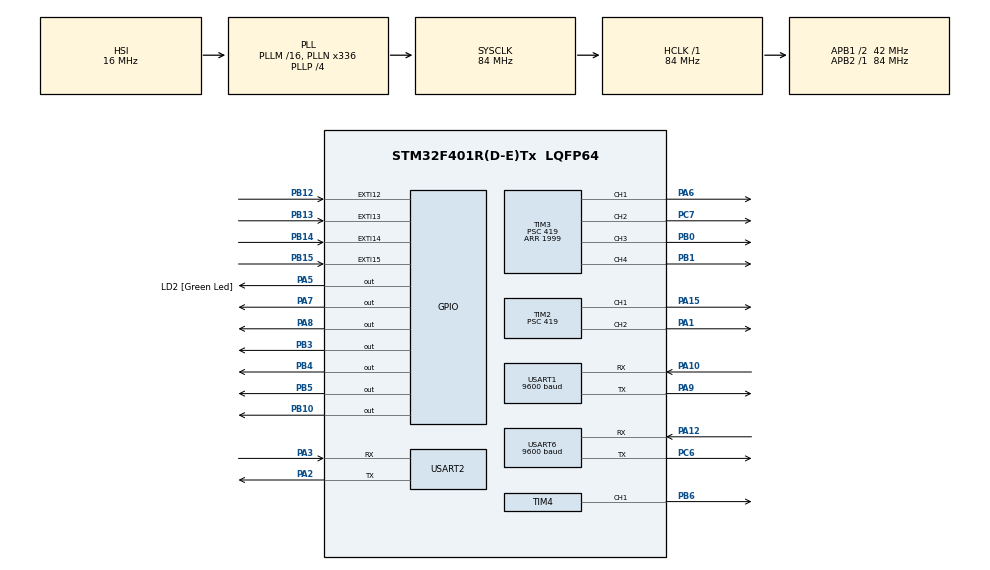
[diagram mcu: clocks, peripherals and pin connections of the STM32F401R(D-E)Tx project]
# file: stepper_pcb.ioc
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Mcu.Family=STM32F4
Mcu.Name=STM32F401R(D-E)Tx
Mcu.Package=LQFP64
NVIC.EXTI15_10_IRQn=true\:0\:0\:true\:false\:true\:true\:true\:true
NVIC.PriorityGroup=NVIC_PRIORITYGROUP_2
NVIC.TIM1_BRK_TIM9_IRQn=true\:0\:0\:true\:false\:true\:true\:true\:true
NVIC.TIM1_TRG_COM_TIM11_IRQn=true\:0\:0\:true\:false\:true\:true\:true\:true
NVIC.TIM1_UP_TIM10_IRQn=true\:0\:0\:true\:false\:true\:true\:true\:true
NVIC.TIM5_IRQn=true\:0\:0\:true\:false\:true\:true\:true\:true
NVIC.USART2_IRQn=true\:0\:0\:true\:false\:true\:true\:true\:true
NVIC.USART6_IRQn=true\:0\:0\:true\:false\:true\:true\:true\:true
PA1.Signal=S_TIM2_CH2
PA10.Mode=Asynchronous
PA10.Signal=USART1_RX
PA12.Mode=Asynchronous
PA12.Signal=USART6_RX
PA13.GPIO_Label=TMS
PA13.Signal=SYS_JTMS-SWDIO
PA14.GPIO_Label=TCK
PA14.Signal=SYS_JTCK-SWCLK
PA15.Signal=S_TIM2_CH1_ETR
PA2.Mode=Asynchronous
PA2.Signal=USART2_TX
PA3.Mode=Asynchronous
PA3.Signal=USART2_RX
PA5.GPIO_Label=LD2 [Green Led]
PA5.GPIO_PuPd=GPIO_NOPULL
PA5.GPIO_Speed=GPIO_SPEED_FREQ_LOW
PA5.Signal=GPIO_Output
PA6.Signal=S_TIM3_CH1
PA7.Signal=GPIO_Output
PA8.Signal=GPIO_Output
PA9.Mode=Asynchronous
PA9.Signal=USART1_TX
PB0.Signal=S_TIM3_CH3
PB1.Signal=S_TIM3_CH4
PB10.Signal=GPIO_Output
PB12.Signal=GPXTI12
PB13.Signal=GPXTI13
PB14.Signal=GPXTI14
PB15.Signal=GPXTI15
PB3.Signal=GPIO_Output
PB4.Signal=GPIO_Output
PB5.Signal=GPIO_Output
PB6.Signal=S_TIM4_CH1
PC14-OSC32_IN.Signal=RCC_OSC32_IN
PC15-OSC32_OUT.Signal=RCC_OSC32_OUT
PC6.Mode=Asynchronous
PC6.Signal=USART6_TX
PC7.Signal=S_TIM3_CH2
PH0\ -\ OSC_IN.Signal=RCC_OSC_IN
PH1\ -\ OSC_OUT.Signal=RCC_OSC_OUT
ProjectManager.HeapSize=0x200
ProjectManager.StackSize=0x400
ProjectManager.TargetToolchain=STM32CubeIDE
RCC.AHBFreq_Value=84000000
RCC.APB1CLKDivider=RCC_HCLK_DIV2
RCC.APB1Freq_Value=42000000
RCC.APB1TimFreq_Value=84000000
RCC.APB2Freq_Value=84000000
RCC.APB2TimFreq_Value=84000000
RCC.CortexFreq_Value=84000000
RCC.HCLKFreq_Value=84000000
RCC.HSE_VALUE=8000000
RCC.HSI_VALUE=16000000
RCC.LSE_VALUE=32768
RCC.PLLN=336
RCC.PLLP=RCC_PLLP_DIV4
RCC.PLLQ=7
RCC.SYSCLKFreq_VALUE=84000000
RCC.SYSCLKSource=RCC_SYSCLKSOURCE_PLLCLK
RCC.VCOOutputFreq_Value=336000000
SH.S_TIM2_CH1_ETR.0=TIM2_CH1,PWM Generation1 CH1
SH.S_TIM2_CH2.0=TIM2_CH2,PWM Generation2 CH2
SH.S_TIM3_CH1.0=TIM3_CH1,PWM Generation1 CH1
SH.S_TIM3_CH2.0=TIM3_CH2,PWM Generation2 CH2
SH.S_TIM3_CH3.0=TIM3_CH3,PWM Generation3 CH3
SH.S_TIM3_CH4.0=TIM3_CH4,PWM Generation4 CH4
SH.S_TIM4_CH1.0=TIM4_CH1,PWM Generation1 CH1
TIM10.Period=9000
TIM10.Prescaler=4500
TIM11.Period=3999
TIM11.Prescaler=39
TIM2.Channel-PWM\ Generation1\ CH1=TIM_CHANNEL_1
TIM2.Channel-PWM\ Generation2\ CH2=TIM_CHANNEL_2
TIM2.Period=1999
TIM2.Prescaler=419
TIM3.Channel-PWM\ Generation1\ CH1=TIM_CHANNEL_1
TIM3.Channel-PWM\ Generation2\ CH2=TIM_CHANNEL_2
TIM3.Channel-PWM\ Generation3\ CH3=TIM_CHANNEL_3
TIM3.Channel-PWM\ Generation4\ CH4=TIM_CHANNEL_4
TIM3.Period=1999
TIM3.Prescaler=419
TIM4.Channel-PWM\ Generation1\ CH1=TIM_CHANNEL_1
TIM4.Period=3999
TIM4.Prescaler=839
TIM4.Pulse-PWM\ Generation1\ CH1=2
TIM5.Period=3999
TIM5.Prescaler=83
TIM9.Period=2499
TIM9.Prescaler=8399
USART1.BaudRate=9600
USART1.VirtualMode=VM_ASYNC
USART2.VirtualMode=VM_ASYNC
USART6.BaudRate=9600
USART6.VirtualMode=VM_ASYNC
VP_TIM10_VS_ClockSourceINT.Mode=Enable_Timer
VP_TIM11_VS_ClockSourceINT.Mode=Enable_Timer
VP_TIM2_VS_ClockSourceINT.Mode=Internal
VP_TIM3_VS_ClockSourceINT.Mode=Internal
VP_TIM4_VS_ClockSourceINT.Mode=Internal
VP_TIM5_VS_ClockSourceINT.Mode=Internal
VP_TIM9_VS_ClockSourceINT.Mode=Internal
board=NUCLEO-F401RE

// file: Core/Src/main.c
/* USER CODE BEGIN Header */
/**
  ******************************************************************************
  * @file           : main.c
  * @brief          : Main program body
  ******************************************************************************
  * @attention
  *
  * Copyright (c) 2024 STMicroelectronics.
  * All rights reserved.
  *
  * This software is licensed under terms that can be found in the LICENSE file
  * in the root directory of this software component.
  * If no LICENSE file comes with this software, it is provided AS-IS.
  *
  ******************************************************************************
  */
/* USER CODE END Header */
#include "main.h"

/* USER CODE BEGIN Includes */
#include"stdio.h"
#include"string.h"

/* USER CODE END Includes */

/* USER CODE BEGIN PD */

typedef enum {
	IDLE,
	LOST,
	NOT_DETECTED,
	TO_LEFT,
	TO_RIGHT,
	READY
} Track_State;

Track_State state;
int auto_enable = 0;

/* USER CODE END PD */

TIM_HandleTypeDef htim2;
TIM_HandleTypeDef htim3;
TIM_HandleTypeDef htim4;
TIM_HandleTypeDef htim5;
TIM_HandleTypeDef htim9;
TIM_HandleTypeDef htim10;
TIM_HandleTypeDef htim11;

UART_HandleTypeDef huart1;
UART_HandleTypeDef huart2;
UART_HandleTypeDef huart6;

void SystemClock_Config(void);
static void MX_GPIO_Init(void);
static void MX_USART2_UART_Init(void);
static void MX_USART6_UART_Init(void);
static void MX_TIM11_Init(void);
static void MX_TIM2_Init(void);
static void MX_TIM3_Init(void);
static void MX_TIM10_Init(void);
static void MX_TIM4_Init(void);
static void MX_TIM5_Init(void);
static void MX_TIM9_Init(void);
static void MX_USART1_UART_Init(void);

/* USER CODE BEGIN 0 */
#define ENABLE_GPIO GPIOA
#define ENABLE_PIN GPIO_PIN_8

#define DIR1_GPIO GPIOB
#define DIR1_PIN GPIO_PIN_10
#define DIR2_GPIO GPIOB
#define DIR2_PIN GPIO_PIN_4
#define DIR3_GPIO GPIOB
#define DIR3_PIN GPIO_PIN_5
#define DIR4_GPIO GPIOB
#define DIR4_PIN GPIO_PIN_3

#define STEP_GPIO GPIOA
#define STEP_PIN GPIO_PIN_7

#define HB1_GPIO  GPIOC
#define HB2_GPIO  GPIOC
#define HB3_GPIO  GPIOC
#define HB4_GPIO  GPIOC
#define HB1_PIN  GPIO_PIN_0
#define HB2_PIN GPIO_PIN_1
#define HB3_PIN GPIO_PIN_2
#define HB4_PIN GPIO_PIN_3
char answer = 0;
char answers[2] = {0};
int answerOffset = 0;

int stepState = 0;
int PINCH_FORWARD_CCR = 205;
int PINCH_BACKWARD_CCR = 320;
int PAN_STOP = 302;
int PAN_SLOW_UP = 310;
int PAN_SLOW_DOWN = 295;
int PAN_UP = 302 + 50;
int PAN_DOWN = 302 - 50;

int FAST_WHEEL_CCR = 1999;
int SLOW_WHEEL_CCR = 199;

#define FIX_TIMER_TRIGGER(handle_ptr) (__HAL_TIM_CLEAR_FLAG(handle_ptr, TIM_SR_UIF))

void HAL_GPIO_EXTI_Callback(uint16_t pin){
	if(pin == GPIO_PIN_12 || pin == GPIO_PIN_13 || pin == GPIO_PIN_14 || pin == GPIO_PIN_15){
		HAL_TIM_Base_Start_IT(&htim5);
	}
}

void step(int num)
{
	HAL_GPIO_WritePin(STEP_GPIO, STEP_PIN, 1);
	HAL_Delay(5);
	HAL_GPIO_WritePin(STEP_GPIO, STEP_PIN, 0);
	HAL_Delay(5);
}

void set_forward_dir()
{
	HAL_GPIO_WritePin(DIR1_GPIO, DIR1_PIN, 1);
	HAL_GPIO_WritePin(DIR2_GPIO, DIR2_PIN, 1);
	HAL_GPIO_WritePin(DIR3_GPIO, DIR3_PIN, 1-1);
	HAL_GPIO_WritePin(DIR4_GPIO, DIR4_PIN, 1-1);
}
void set_backward_dir()
{
	HAL_GPIO_WritePin(DIR1_GPIO, DIR1_PIN, 0);
	HAL_GPIO_WritePin(DIR2_GPIO, DIR2_PIN, 0);
	HAL_GPIO_WritePin(DIR3_GPIO, DIR3_PIN, 1-0);
	HAL_GPIO_WritePin(DIR4_GPIO, DIR4_PIN, 1-0);
}
void set_left_dir()
{
	HAL_GPIO_WritePin(DIR1_GPIO, DIR1_PIN, 0);
	HAL_GPIO_WritePin(DIR2_GPIO, DIR2_PIN, 1);
	HAL_GPIO_WritePin(DIR3_GPIO, DIR3_PIN, 1-1);
	HAL_GPIO_WritePin(DIR4_GPIO, DIR4_PIN, 1-0);
}
void set_right_dir()
{
	HAL_GPIO_WritePin(DIR1_GPIO, DIR1_PIN, 1);
	HAL_GPIO_WritePin(DIR2_GPIO, DIR2_PIN, 0);
	HAL_GPIO_WritePin(DIR3_GPIO, DIR3_PIN, 1-0);
	HAL_GPIO_WritePin(DIR4_GPIO, DIR4_PIN, 1-1);
}
void set_ccw_dir()
{
	HAL_GPIO_WritePin(DIR1_GPIO, DIR1_PIN, 0);
	HAL_GPIO_WritePin(DIR2_GPIO, DIR2_PIN, 0);
	HAL_GPIO_WritePin(DIR3_GPIO, DIR3_PIN, 1-1);
	HAL_GPIO_WritePin(DIR4_GPIO, DIR4_PIN, 1-1);
}
void set_cw_dir()
{
	HAL_GPIO_WritePin(DIR1_GPIO, DIR1_PIN, 1);
	HAL_GPIO_WritePin(DIR2_GPIO, DIR2_PIN, 1);
	HAL_GPIO_WritePin(DIR3_GPIO, DIR3_PIN, 1-0);
	HAL_GPIO_WritePin(DIR4_GPIO, DIR4_PIN, 1-0);
}

static int steps_left = 0;
static int disabled = 0;
void enable()
{
	HAL_GPIO_WritePin(ENABLE_GPIO, ENABLE_PIN, 0);
}
void disable()
{
	HAL_GPIO_WritePin(ENABLE_GPIO, ENABLE_PIN, 1);
}

int pan_done = 1;

int controller_move = 0;
int controller_dir = 0;
int ultra_move = 0;
int ultra_steps = 0;
int ultra_dir = 0;
int auto_move = 0;
int auto_steps = 0;
int auto_dir = 0;

void set_dir(int dir)
{
	switch(dir)
	{
	case 0:
		set_forward_dir();
		break;
	case 1:
		set_backward_dir();
		break;
	case 2:
		set_left_dir();
		break;
	case 3:
		set_right_dir();
		break;
	case 4:
		set_ccw_dir();
		break;
	case 5:
		set_cw_dir();
		break;
	}
}
static it_started = 0;

void HAL_TIM_PeriodElapsedCallback(TIM_HandleTypeDef *htim) {

    if (htim->Instance == TIM11) {
    	if (controller_move == 0 && ultra_move == 0 && auto_move == 0)
		{
			HAL_TIM_Base_Stop_IT(&htim11);
			it_started = 0;
			disable();
			return;
		}
    	if (ultra_move)
    	{
    		if (stepState)
    		{
    			ultra_steps--;
    			if (ultra_steps == 0)
    			{
    				ultra_move = 0;
    			}
    		}
    		set_dir(ultra_dir);
    	}
    	else if (controller_move)
    	{

    		set_dir(controller_dir);
    	}
    	else
    	{
    		if (stepState)
			{
				auto_steps--;
				if (auto_steps == 0)
				{
					auto_move = 0;
				}
			}
			set_dir(auto_dir);
    	}
    	enable();
		HAL_GPIO_WritePin(STEP_GPIO, STEP_PIN, stepState ? GPIO_PIN_SET : GPIO_PIN_RESET);
    	stepState = !stepState;
    }
    else if (htim->Instance == TIM10)
    {
    	TIM2->CCR1 = PINCH_BACKWARD_CCR;
    	HAL_TIM_Base_Stop_IT(&htim10);
    }
    else if(htim->Instance == TIM5){
		GPIO_PinState ultra1 = HAL_GPIO_ReadPin(GPIOB, GPIO_PIN_12);
		GPIO_PinState ultra2 = HAL_GPIO_ReadPin(GPIOB, GPIO_PIN_13);
		GPIO_PinState ultra3 = HAL_GPIO_ReadPin(GPIOB, GPIO_PIN_14);
		GPIO_PinState ultra4 = HAL_GPIO_ReadPin(GPIOB, GPIO_PIN_15);
		if (!ultra_move)
		{

			if(ultra1){
				ultra_move = 1;
				 ultra_dir = 1;
				 ultra_steps = 50;
				printf("1\n");
				if (!it_started)
				{
					it_started = 1;
					HAL_TIM_Base_Start_IT(&htim11);
				}
			}
			else if(ultra2){
				ultra_move = 1;
				ultra_dir = 0;
				ultra_steps = 50;
				printf("2\n");
				if (!it_started)
								{
									it_started = 1;
									HAL_TIM_Base_Start_IT(&htim11);
								}
			}
			else if(ultra3){
				ultra_move = 1;
				ultra_dir = 3;
				ultra_steps = 50;
				printf("3\n");
				if (!it_started)
								{
									it_started = 1;
									HAL_TIM_Base_Start_IT(&htim11);
								}
			}
			else if(ultra4)
			{
				ultra_move = 1;
				ultra_dir = 2;
				ultra_steps = 50;
				printf("4\n");
				if (!it_started)
								{
									it_started = 1;
									HAL_TIM_Base_Start_IT(&htim11);
								}
			}
		}
		HAL_TIM_Base_Stop_IT(&htim5);
	}
    else if(htim->Instance == TIM9)
    {
    	printf("tim9 it\n");
    	pan_done = 1;
    	TIM2->CCR2 = PAN_STOP;
    	HAL_TIM_Base_Stop_IT(&htim9);
    }
}
int auto_mode_on = 0;
int to_delay = 0;

void move_async(int dir, int steps)
{
	if (!auto_mode_on)
	{
		return;
	}
	while(auto_move);
	if (to_delay !=0)
	{
		HAL_Delay(to_delay);
		to_delay = 0;
	}
	auto_move = 1;
	auto_steps = steps;
	auto_dir = dir;
	if (!it_started)
	{
		it_started = 1;
		HAL_TIM_Base_Start_IT(&htim11);
	}
}

void prepare_nospin()
{
	TIM3->CCR1 = 0;
	TIM3->CCR2 = 800;
	TIM3->CCR3 = 0;
	TIM3->CCR4 = 800;
}
void prepare_full()
{
	TIM3->CCR1 = 0;
	TIM3->CCR2 = 1999;
	TIM3->CCR3 = 0;
	TIM3->CCR4 = 1999;
}
void prepare_topspin()
{
	TIM3->CCR1 = 0;
		TIM3->CCR2 = 499;
		TIM3->CCR3 = 0;
		TIM3->CCR4 = 1299;
}
void prepare_underspin()
{
	TIM3->CCR1 = 0;
	 TIM3->CCR2 = 1299;
	 TIM3->CCR3 = 0;
	 TIM3->CCR4 = 499;
}
void shut_down()
{
	TIM3->CCR1 = 0;
		TIM3->CCR2 = 0;
		TIM3->CCR3 = 0;
		TIM3->CCR4 = 0;
}

void rotate_and_shoot()
{
	if (!auto_mode_on)
	{
		return;
	}
	prepare_topspin();
	capture_and_update();
	if (!auto_mode_on)
	{
		return;
	}
	static int is_left[] = {0, 1, 1, 0, 1, 0, 1, 1};
	auto_move = 1;
	auto_steps = 150;
	auto_dir = is_left? 4: 5;
	if (!it_started)
	{
		it_started = 1;
		HAL_TIM_Base_Start_IT(&htim11);
	}
	HAL_Delay(2000);
	if (!auto_mode_on)
	{
		return;
	}
	shoot_async();
	HAL_Delay(500);
	auto_move = 1;
	auto_steps = 150;
	auto_dir = is_left? 5:4;
	if (!it_started)
	{
		it_started = 1;
		HAL_TIM_Base_Start_IT(&htim11);
	}
	HAL_Delay(500);

}

uint16_t number = 0;

uint8_t tx_blocks_buff[]={0xae,0xc1,32,2,1,1};
uint8_t rx_blocks_buff[20];

void detect_object_location(void);
void capture_and_update(void);
void shoot_async()
{

	TIM2->CCR1 = PINCH_FORWARD_CCR;
	FIX_TIMER_TRIGGER(&htim10);
	HAL_TIM_Base_Start_IT(&htim10);
}

void auto_move_func()
{
	if (auto_mode_on == 0)
	{
		return;
	}
	prepare_topspin();
	HAL_Delay(5000);
	int rotates[] = {1, 0, 1, 1, 0, 0, 1, 0};
	static int rotate_index = 0;
	if (auto_mode_on == 0)
	{
		return;
	}
	move_async(5, 320);
	to_delay = 500;
	move_async(0, 1000);
	to_delay = 500;
	move_async(4, 320);
	int rotate = rotates[rotate_index++];
	if (rotate_index ==8)
	{
		rotate_index = 0;
	}
	capture_and_update();
	if (state == TO_LEFT || rotate)
	{
		to_delay = 500;
		move_async(4, 70);
	}
	to_delay = 500;
	move_async(1, 1);
	shoot_async();
	if (state == TO_LEFT || rotate)
	{
		to_delay = 500;
		move_async(5, 70);
	}
	to_delay = 500;
	move_async(4, 320);
	to_delay = 500;
	move_async(0, 1000);
	to_delay = 500;
	move_async(5, 320);
	to_delay = 500;
	rotate = rotates[rotate_index++];
	if (rotate_index ==8)
	{
		rotate_index = 0;
	}
	capture_and_update();
	if (state == TO_RIGHT || rotate)
	{
		to_delay = 500;
		move_async(5, 70);
	}
	to_delay = 500;
	move_async(0, 1);
	shoot_async();

	if (state == TO_RIGHT || rotate)
	{
		to_delay = 500;
		move_async(4, 70);
	}
	to_delay = 300;

//	 move_async(0, 200);
//	  rotate_and_shoot();
//	  HAL_Delay(500);
//	  move_async(2, 200);
//	  rotate_and_shoot();
//	  HAL_Delay(500);
//	  move_async(1, 200);
//	  rotate_and_shoot();
//	  HAL_Delay(500);
//	  move_async(3, 200);
//	  rotate_and_shoot();
//	  HAL_Delay(500);
}

/* USER CODE END 0 */

int main(void)
{

  /* MCU Configuration--------------------------------------------------------*/

  /* Reset of all peripherals, Initializes the Flash interface and the Systick. */
  HAL_Init();

  /* Configure the system clock */
  SystemClock_Config();

  /* Initialize all configured peripherals */
  MX_GPIO_Init();
  MX_USART2_UART_Init();
  MX_USART6_UART_Init();
  MX_TIM11_Init();
  MX_TIM2_Init();
  MX_TIM3_Init();
  MX_TIM10_Init();
  MX_TIM4_Init();
  MX_TIM5_Init();
  MX_TIM9_Init();
  MX_USART1_UART_Init();
  /* USER CODE BEGIN 2 */
  // HAL_TIM_Base_Start_IT(&htim10);
  HAL_UART_Receive_IT(&huart6, &answer, 1);
  HAL_UART_Receive_IT(&huart2, &number, 1);
  HAL_TIM_PWM_Start(&htim2, TIM_CHANNEL_1);
  HAL_TIM_PWM_Start(&htim2, TIM_CHANNEL_2);
  HAL_TIM_PWM_Start(&htim3, TIM_CHANNEL_1);
  HAL_TIM_PWM_Start(&htim3, TIM_CHANNEL_2);
  HAL_TIM_PWM_Start(&htim3, TIM_CHANNEL_3);
  HAL_TIM_PWM_Start(&htim3, TIM_CHANNEL_4);
  HAL_TIM_PWM_Start(&htim4, TIM_CHANNEL_1);
  // HAL_TIM_Base_Start_IT(&htim11);
  /* USER CODE END 2 */

  /* Infinite loop */
  /* USER CODE BEGIN WHILE */
  // HAL_GPIO_WritePin(ENABLE_GPIO, ENABLE_PIN, 1);
  HAL_GPIO_WritePin(DIR1_GPIO, DIR1_PIN, 0);
  HAL_GPIO_WritePin(DIR2_GPIO, DIR2_PIN, 0);
  HAL_GPIO_WritePin(DIR3_GPIO, DIR3_PIN, 0);
  HAL_GPIO_WritePin(DIR4_GPIO, DIR4_PIN, 0);

  disable();

  auto_enable = 1;
  while (1)
  {
	  // HAL_GPIO_WritePin(STEP_GPIO, STEP_PIN, 1);
	  // HAL_Delay(100);
	  // HAL_GPIO_WritePin(STEP_GPIO, STEP_PIN, 0);
	  // HAL_Delay(100);

	  printf("hello world!\n");
	  auto_move_func();
	  HAL_Delay(200);

      // move_async(0, 200);
//	  rotate_and_shoot();
//	  HAL_Delay(500);
//	  move_async(2, 200);
//	  rotate_and_shoot();
//	  HAL_Delay(500);
//	  move_async(1, 200);
//	  rotate_and_shoot();
//	  HAL_Delay(500);
//	  move_async(3, 200);
//	  rotate_and_shoot();
//	  HAL_Delay(500);
    /* USER CODE END WHILE */

  }
}

void SystemClock_Config(void)
{
  RCC_OscInitTypeDef RCC_OscInitStruct = {0};
  RCC_ClkInitTypeDef RCC_ClkInitStruct = {0};

  /** Configure the main internal regulator output voltage
  */
  __HAL_RCC_PWR_CLK_ENABLE();
  __HAL_PWR_VOLTAGESCALING_CONFIG(PWR_REGULATOR_VOLTAGE_SCALE2);

  /** Initializes the RCC Oscillators according to the specified parameters
  * in the RCC_OscInitTypeDef structure.
  */
  RCC_OscInitStruct.OscillatorType = RCC_OSCILLATORTYPE_HSI;
  RCC_OscInitStruct.HSIState = RCC_HSI_ON;
  RCC_OscInitStruct.HSICalibrationValue = RCC_HSICALIBRATION_DEFAULT;
  RCC_OscInitStruct.PLL.PLLState = RCC_PLL_ON;
  RCC_OscInitStruct.PLL.PLLSource = RCC_PLLSOURCE_HSI;
  RCC_OscInitStruct.PLL.PLLM = 16;
  RCC_OscInitStruct.PLL.PLLN = 336;
  RCC_OscInitStruct.PLL.PLLP = RCC_PLLP_DIV4;
  RCC_OscInitStruct.PLL.PLLQ = 7;
  if (HAL_RCC_OscConfig(&RCC_OscInitStruct) != HAL_OK)
  {
    Error_Handler();
  }

  /** Initializes the CPU, AHB and APB buses clocks
  */
  RCC_ClkInitStruct.ClockType = RCC_CLOCKTYPE_HCLK|RCC_CLOCKTYPE_SYSCLK
                              |RCC_CLOCKTYPE_PCLK1|RCC_CLOCKTYPE_PCLK2;
  RCC_ClkInitStruct.SYSCLKSource = RCC_SYSCLKSOURCE_PLLCLK;
  RCC_ClkInitStruct.AHBCLKDivider = RCC_SYSCLK_DIV1;
  RCC_ClkInitStruct.APB1CLKDivider = RCC_HCLK_DIV2;
  RCC_ClkInitStruct.APB2CLKDivider = RCC_HCLK_DIV1;

  if (HAL_RCC_ClockConfig(&RCC_ClkInitStruct, FLASH_LATENCY_2) != HAL_OK)
  {
    Error_Handler();
  }
}

static void MX_TIM2_Init(void)
{

  TIM_ClockConfigTypeDef sClockSourceConfig = {0};
  TIM_MasterConfigTypeDef sMasterConfig = {0};
  TIM_OC_InitTypeDef sConfigOC = {0};

  htim2.Instance = TIM2;
  htim2.Init.Prescaler = 419;
  htim2.Init.CounterMode = TIM_COUNTERMODE_UP;
  htim2.Init.Period = 1999;
  htim2.Init.ClockDivision = TIM_CLOCKDIVISION_DIV1;
  htim2.Init.AutoReloadPreload = TIM_AUTORELOAD_PRELOAD_DISABLE;
  if (HAL_TIM_Base_Init(&htim2) != HAL_OK)
  {
    Error_Handler();
  }
  sClockSourceConfig.ClockSource = TIM_CLOCKSOURCE_INTERNAL;
  if (HAL_TIM_ConfigClockSource(&htim2, &sClockSourceConfig) != HAL_OK)
  {
    Error_Handler();
  }
  if (HAL_TIM_PWM_Init(&htim2) != HAL_OK)
  {
    Error_Handler();
  }
  sMasterConfig.MasterOutputTrigger = TIM_TRGO_RESET;
  sMasterConfig.MasterSlaveMode = TIM_MASTERSLAVEMODE_DISABLE;
  if (HAL_TIMEx_MasterConfigSynchronization(&htim2, &sMasterConfig) != HAL_OK)
  {
    Error_Handler();
  }
  sConfigOC.OCMode = TIM_OCMODE_PWM1;
  sConfigOC.Pulse = 0;
  sConfigOC.OCPolarity = TIM_OCPOLARITY_HIGH;
  sConfigOC.OCFastMode = TIM_OCFAST_DISABLE;
  if (HAL_TIM_PWM_ConfigChannel(&htim2, &sConfigOC, TIM_CHANNEL_1) != HAL_OK)
  {
    Error_Handler();
  }
  if (HAL_TIM_PWM_ConfigChannel(&htim2, &sConfigOC, TIM_CHANNEL_2) != HAL_OK)
  {
    Error_Handler();
  }
  HAL_TIM_MspPostInit(&htim2);

}

static void MX_TIM3_Init(void)
{

  TIM_ClockConfigTypeDef sClockSourceConfig = {0};
  TIM_MasterConfigTypeDef sMasterConfig = {0};
  TIM_OC_InitTypeDef sConfigOC = {0};

  htim3.Instance = TIM3;
  htim3.Init.Prescaler = 419;
  htim3.Init.CounterMode = TIM_COUNTERMODE_UP;
  htim3.Init.Period = 1999;
  htim3.Init.ClockDivision = TIM_CLOCKDIVISION_DIV1;
  htim3.Init.AutoReloadPreload = TIM_AUTORELOAD_PRELOAD_DISABLE;
  if (HAL_TIM_Base_Init(&htim3) != HAL_OK)
  {
    Error_Handler();
  }
  sClockSourceConfig.ClockSource = TIM_CLOCKSOURCE_INTERNAL;
  if (HAL_TIM_ConfigClockSource(&htim3, &sClockSourceConfig) != HAL_OK)
  {
    Error_Handler();
  }
  if (HAL_TIM_PWM_Init(&htim3) != HAL_OK)
  {
    Error_Handler();
  }
  sMasterConfig.MasterOutputTrigger = TIM_TRGO_RESET;
  sMasterConfig.MasterSlaveMode = TIM_MASTERSLAVEMODE_DISABLE;
  if (HAL_TIMEx_MasterConfigSynchronization(&htim3, &sMasterConfig) != HAL_OK)
  {
    Error_Handler();
  }
  sConfigOC.OCMode = TIM_OCMODE_PWM1;
  sConfigOC.Pulse = 0;
  sConfigOC.OCPolarity = TIM_OCPOLARITY_HIGH;
  sConfigOC.OCFastMode = TIM_OCFAST_DISABLE;
  if (HAL_TIM_PWM_ConfigChannel(&htim3, &sConfigOC, TIM_CHANNEL_1) != HAL_OK)
  {
    Error_Handler();
  }
  if (HAL_TIM_PWM_ConfigChannel(&htim3, &sConfigOC, TIM_CHANNEL_2) != HAL_OK)
  {
    Error_Handler();
  }
  if (HAL_TIM_PWM_ConfigChannel(&htim3, &sConfigOC, TIM_CHANNEL_3) != HAL_OK)
  {
    Error_Handler();
  }
  if (HAL_TIM_PWM_ConfigChannel(&htim3, &sConfigOC, TIM_CHANNEL_4) != HAL_OK)
  {
    Error_Handler();
  }
  HAL_TIM_MspPostInit(&htim3);

}

static void MX_TIM4_Init(void)
{

  TIM_ClockConfigTypeDef sClockSourceConfig = {0};
  TIM_MasterConfigTypeDef sMasterConfig = {0};
  TIM_OC_InitTypeDef sConfigOC = {0};

  htim4.Instance = TIM4;
  htim4.Init.Prescaler = 839;
  htim4.Init.CounterMode = TIM_COUNTERMODE_UP;
  htim4.Init.Period = 3999;
  htim4.Init.ClockDivision = TIM_CLOCKDIVISION_DIV1;
  htim4.Init.AutoReloadPreload = TIM_AUTORELOAD_PRELOAD_DISABLE;
  if (HAL_TIM_Base_Init(&htim4) != HAL_OK)
  {
    Error_Handler();
  }
  sClockSourceConfig.ClockSource = TIM_CLOCKSOURCE_INTERNAL;
  if (HAL_TIM_ConfigClockSource(&htim4, &sClockSourceConfig) != HAL_OK)
  {
    Error_Handler();
  }
  if (HAL_TIM_PWM_Init(&htim4) != HAL_OK)
  {
    Error_Handler();
  }
  sMasterConfig.MasterOutputTrigger = TIM_TRGO_RESET;
  sMasterConfig.MasterSlaveMode = TIM_MASTERSLAVEMODE_DISABLE;
  if (HAL_TIMEx_MasterConfigSynchronization(&htim4, &sMasterConfig) != HAL_OK)
  {
    Error_Handler();
  }
  sConfigOC.OCMode = TIM_OCMODE_PWM1;
  sConfigOC.Pulse = 2;
  sConfigOC.OCPolarity = TIM_OCPOLARITY_HIGH;
  sConfigOC.OCFastMode = TIM_OCFAST_DISABLE;
  if (HAL_TIM_PWM_ConfigChannel(&htim4, &sConfigOC, TIM_CHANNEL_1) != HAL_OK)
  {
    Error_Handler();
  }
  HAL_TIM_MspPostInit(&htim4);

}

static void MX_TIM5_Init(void)
{

  TIM_ClockConfigTypeDef sClockSourceConfig = {0};
  TIM_MasterConfigTypeDef sMasterConfig = {0};

  htim5.Instance = TIM5;
  htim5.Init.Prescaler = 83;
  htim5.Init.CounterMode = TIM_COUNTERMODE_UP;
  htim5.Init.Period = 3999;
  htim5.Init.ClockDivision = TIM_CLOCKDIVISION_DIV1;
  htim5.Init.AutoReloadPreload = TIM_AUTORELOAD_PRELOAD_DISABLE;
  if (HAL_TIM_Base_Init(&htim5) != HAL_OK)
  {
    Error_Handler();
  }
  sClockSourceConfig.ClockSource = TIM_CLOCKSOURCE_INTERNAL;
  if (HAL_TIM_ConfigClockSource(&htim5, &sClockSourceConfig) != HAL_OK)
  {
    Error_Handler();
  }
  sMasterConfig.MasterOutputTrigger = TIM_TRGO_RESET;
  sMasterConfig.MasterSlaveMode = TIM_MASTERSLAVEMODE_DISABLE;
  if (HAL_TIMEx_MasterConfigSynchronization(&htim5, &sMasterConfig) != HAL_OK)
  {
    Error_Handler();
  }

}

static void MX_TIM9_Init(void)
{

  TIM_ClockConfigTypeDef sClockSourceConfig = {0};

  htim9.Instance = TIM9;
  htim9.Init.Prescaler = 8399;
  htim9.Init.CounterMode = TIM_COUNTERMODE_UP;
  htim9.Init.Period = 2499;
  htim9.Init.ClockDivision = TIM_CLOCKDIVISION_DIV1;
  htim9.Init.AutoReloadPreload = TIM_AUTORELOAD_PRELOAD_DISABLE;
  if (HAL_TIM_Base_Init(&htim9) != HAL_OK)
  {
    Error_Handler();
  }
  sClockSourceConfig.ClockSource = TIM_CLOCKSOURCE_INTERNAL;
  if (HAL_TIM_ConfigClockSource(&htim9, &sClockSourceConfig) != HAL_OK)
  {
    Error_Handler();
  }

}

static void MX_TIM10_Init(void)
{

  htim10.Instance = TIM10;
  htim10.Init.Prescaler = 4500;
  htim10.Init.CounterMode = TIM_COUNTERMODE_UP;
  htim10.Init.Period = 9000;
  htim10.Init.ClockDivision = TIM_CLOCKDIVISION_DIV1;
  htim10.Init.AutoReloadPreload = TIM_AUTORELOAD_PRELOAD_DISABLE;
  if (HAL_TIM_Base_Init(&htim10) != HAL_OK)
  {
    Error_Handler();
  }

}

static void MX_TIM11_Init(void)
{

  htim11.Instance = TIM11;
  htim11.Init.Prescaler = 39;
  htim11.Init.CounterMode = TIM_COUNTERMODE_UP;
  htim11.Init.Period = 3999;
  htim11.Init.ClockDivision = TIM_CLOCKDIVISION_DIV1;
  htim11.Init.AutoReloadPreload = TIM_AUTORELOAD_PRELOAD_DISABLE;
  if (HAL_TIM_Base_Init(&htim11) != HAL_OK)
  {
    Error_Handler();
  }

}

static void MX_USART1_UART_Init(void)
{

  huart1.Instance = USART1;
  huart1.Init.BaudRate = 9600;
  huart1.Init.WordLength = UART_WORDLENGTH_8B;
  huart1.Init.StopBits = UART_STOPBITS_1;
  huart1.Init.Parity = UART_PARITY_NONE;
  huart1.Init.Mode = UART_MODE_TX_RX;
  huart1.Init.HwFlowCtl = UART_HWCONTROL_NONE;
  huart1.Init.OverSampling = UART_OVERSAMPLING_16;
  if (HAL_UART_Init(&huart1) != HAL_OK)
  {
    Error_Handler();
  }

}

static void MX_USART2_UART_Init(void)
{

  huart2.Instance = USART2;
  huart2.Init.BaudRate = 115200;
  huart2.Init.WordLength = UART_WORDLENGTH_8B;
  huart2.Init.StopBits = UART_STOPBITS_1;
  huart2.Init.Parity = UART_PARITY_NONE;
  huart2.Init.Mode = UART_MODE_TX_RX;
  huart2.Init.HwFlowCtl = UART_HWCONTROL_NONE;
  huart2.Init.OverSampling = UART_OVERSAMPLING_16;
  if (HAL_UART_Init(&huart2) != HAL_OK)
  {
    Error_Handler();
  }

}

static void MX_USART6_UART_Init(void)
{

  huart6.Instance = USART6;
  huart6.Init.BaudRate = 9600;
  huart6.Init.WordLength = UART_WORDLENGTH_8B;
  huart6.Init.StopBits = UART_STOPBITS_1;
  huart6.Init.Parity = UART_PARITY_NONE;
  huart6.Init.Mode = UART_MODE_TX_RX;
  huart6.Init.HwFlowCtl = UART_HWCONTROL_NONE;
  huart6.Init.OverSampling = UART_OVERSAMPLING_16;
  if (HAL_UART_Init(&huart6) != HAL_OK)
  {
    Error_Handler();
  }

}

static void MX_GPIO_Init(void)
{
  GPIO_InitTypeDef GPIO_InitStruct = {0};

  /* GPIO Ports Clock Enable */
  __HAL_RCC_GPIOC_CLK_ENABLE();
  __HAL_RCC_GPIOH_CLK_ENABLE();
  __HAL_RCC_GPIOA_CLK_ENABLE();
  __HAL_RCC_GPIOB_CLK_ENABLE();

  /*Configure GPIO pin Output Level */
  HAL_GPIO_WritePin(GPIOA, LD2_Pin|GPIO_PIN_7|GPIO_PIN_8, GPIO_PIN_RESET);

  /*Configure GPIO pin Output Level */
  HAL_GPIO_WritePin(GPIOB, GPIO_PIN_10|GPIO_PIN_3|GPIO_PIN_4|GPIO_PIN_5, GPIO_PIN_RESET);

  /*Configure GPIO pins : LD2_Pin PA7 PA8 */
  GPIO_InitStruct.Pin = LD2_Pin|GPIO_PIN_7|GPIO_PIN_8;
  GPIO_InitStruct.Mode = GPIO_MODE_OUTPUT_PP;
  GPIO_InitStruct.Pull = GPIO_NOPULL;
  GPIO_InitStruct.Speed = GPIO_SPEED_FREQ_LOW;
  HAL_GPIO_Init(GPIOA, &GPIO_InitStruct);

  /*Configure GPIO pins : PB10 PB3 PB4 PB5 */
  GPIO_InitStruct.Pin = GPIO_PIN_10|GPIO_PIN_3|GPIO_PIN_4|GPIO_PIN_5;
  GPIO_InitStruct.Mode = GPIO_MODE_OUTPUT_PP;
  GPIO_InitStruct.Pull = GPIO_NOPULL;
  GPIO_InitStruct.Speed = GPIO_SPEED_FREQ_LOW;
  HAL_GPIO_Init(GPIOB, &GPIO_InitStruct);

  /*Configure GPIO pins : PB12 PB13 PB14 PB15 */
  GPIO_InitStruct.Pin = GPIO_PIN_12|GPIO_PIN_13|GPIO_PIN_14|GPIO_PIN_15;
  GPIO_InitStruct.Mode = GPIO_MODE_IT_RISING;
  GPIO_InitStruct.Pull = GPIO_NOPULL;
  HAL_GPIO_Init(GPIOB, &GPIO_InitStruct);

  /* EXTI interrupt init*/
  HAL_NVIC_SetPriority(EXTI15_10_IRQn, 0, 0);
  HAL_NVIC_EnableIRQ(EXTI15_10_IRQn);

}

/* USER CODE BEGIN 4 */

#ifdef __GNUC__
#define PUTCHAR_PROTOTYPE int __io_putchar(int ch)
#else
  #define PUTCHAR_PROTOTYPE int fputc(int ch, FILE *f)
#endif /* __GNUC__ */
PUTCHAR_PROTOTYPE
{
  HAL_UART_Transmit(&huart2, (uint8_t *)&ch, 1, 0xFFFF);
  return ch;
}

static int pan_pos = 0;
int pan_dir = 0;

void HAL_UART_RxCpltCallback(UART_HandleTypeDef* hadc) {

	if (hadc == &huart2)
	{
		static char numbers[4] = {0};
		static int offset = 0;

		if (number != '\n')
		{
			printf("received: %c\n", number);
			numbers[offset++] = number;

			if (offset == 3)
			{
				int intNum = atoi(numbers);
				printf("set: %d\n", intNum);
				// TIM2->CCR1 = intNum;
				TIM2->CCR2 = intNum;
				offset = 0;
			}
		}
		HAL_UART_Receive_IT(&huart2, &number, 1);

	}
	else
	{
		printf("raw: %d\n", (int)answer);
		if (answerOffset == 0 && (answer&0b10000000) == 0)
		{
			HAL_UART_Receive_IT(&huart6, &answer, 1);
			printf("Wrong!\n");
			return;
		}
		answers[answerOffset++] = answer;
		if (answerOffset == 2)
		{
			answerOffset = 0;
		}
		else
		{
			HAL_UART_Receive_IT(&huart6, &answer, 1);
			return;
		}
		printf("received: %d\n", *(uint16_t*)(&answers));
		static int hold = 0;
		static int hold_64 = 0;
		static int hold_128 = 0;
		uint16_t short_answers = *(uint16_t*)(&answers) - 128;
		printf("processed: %d\n", short_answers);
		switch(short_answers)
		{
		case 1:
			controller_dir = 4;
			break;
		case 2:
			controller_dir = 5;
			break;
		case 4:
			controller_dir = 0;
			break;
		case 8:
			controller_dir = 1;
			break;
		case 16:
			shoot_async();
			break;
		case 32:
			static int spin_state = 0;

			if (!hold)
			{
				hold = 1;
				spin_state = (spin_state + 1)%5;
			}
			if (spin_state == 0)
			{
				shut_down();
			}
			else if(spin_state == 1)
			{
				prepare_nospin();
			}
			else if(spin_state == 2)
			{
				prepare_full();
			}
			else if (spin_state == 3)
			{
				prepare_topspin();
			}
			else
			{
				prepare_underspin();
			}
			break;
		case 64:
			if (!hold_64 && pan_pos > 0 && pan_done)
			{
				hold_64 = 1;
				pan_done = 0;
				pan_pos--;
				pan_dir = 0;
				TIM2->CCR2 = PAN_DOWN;
				FIX_TIMER_TRIGGER(&htim9);
				HAL_TIM_Base_Start_IT(&htim9);
			}
			break;
		case 256*16:
			if (!hold_128 && pan_pos < 3 && pan_done)
			{
				hold_128 = 1;
				pan_done = 0;
				pan_pos++;
				pan_dir = 1;
				TIM2->CCR2 = PAN_UP;
				FIX_TIMER_TRIGGER(&htim9);
				HAL_TIM_Base_Start_IT(&htim9);
			}
			break;
		case 256:
			auto_mode_on = 1;
			break;
		case 512:
			auto_mode_on = 0;
			auto_move = 0;
			auto_steps = 0;
			break;

		}

		if ((short_answers & 0b1111) == 0)
		{
			controller_move = 0;
		}
		if ((short_answers & 0b1111) != 0)
		{
			controller_move = 1;
			HAL_TIM_Base_Start_IT(&htim11);
			it_started = 1;
		}
		if (short_answers != 64)
		{
			hold_64 = 0;
		}
		if (short_answers != 256*16)
		{
			hold_128 = 0;
		}
		disabled = (short_answers & 0b1111) == 0;
		if ((short_answers & 32) == 0)
		{
			hold = 0;
		}
		 HAL_UART_Receive_IT(&huart6, &answer, 1);
	}
 }

void detect_object_location()
{
	const int sig = 1;
	const int tolerate_x = 30;   // tolerance in x direction in pixels
	const int tolerate_y = 20;   // tolerance in x direction in pixels
	int x_pos, y_pos;

	HAL_UART_Transmit(&huart1, tx_blocks_buff, 6, 1000);
	HAL_UART_Receive(&huart1, rx_blocks_buff, 20, 1000);
	HAL_Delay(10);
	int sanity = 0;
	int if_detected = 0;
	sanity = (rx_blocks_buff[0] == 175) && (rx_blocks_buff[1] == 193) && (rx_blocks_buff[2] == 33);
	if_detected = (rx_blocks_buff[3] == 14);

	for(int i = 0; i< 20; i++){
		printf("%d   ", rx_blocks_buff[i]);
	}
	printf("\n\r");

	// light a led for debug if pixy cam is offline
	if (sanity == 1) {
		HAL_GPIO_WritePin(GPIOA, GPIO_PIN_5, GPIO_PIN_RESET);  // switch on the led
	} else {
		HAL_GPIO_WritePin(GPIOA, GPIO_PIN_5, GPIO_PIN_SET);
		return;
	}

	if (if_detected == 1) {
		x_pos = rx_blocks_buff[8];
		y_pos = rx_blocks_buff[10];
		printf("target detected at (%d,%d)! \n\r", x_pos, y_pos);
		//
	} else {
		printf("target not detected! \n\r");
		// write to gpio to trigger a interrupt
		return;
	}

	HAL_Delay(100);
}

void capture_and_update() {
	HAL_UART_Transmit(&huart1, tx_blocks_buff, 6, 1000);
	HAL_UART_Receive(&huart1, rx_blocks_buff, 20, 1000);
	HAL_Delay(5);

	for(int i = 0; i< 20; i++){
		printf("%d   ", rx_blocks_buff[i]);
	}
	printf("\n");

	const int tolerate_x = 30;   // tolerance in x direction in pixels
	const int ref_x = 157;
	const int tolerate_y = 20;   // tolerance in x direction in pixels
	HAL_GPIO_WritePin(GPIOA, GPIO_PIN_5, GPIO_PIN_RESET);
	switch (state) {
	case IDLE:
		if (enable) {
			state = LOST;
		}
		break;
	case LOST:
		if ((rx_blocks_buff[0] == 175) && (rx_blocks_buff[1] == 193) && (rx_blocks_buff[2] == 33)) {
			state = NOT_DETECTED;
		}
		if (!enable) {
			state = IDLE;
		}
		break;
	case NOT_DETECTED:

	case TO_RIGHT:

	case TO_LEFT:
			if (!enable) {
				state = IDLE;
				break;
			}
			if ((rx_blocks_buff[0] == 175) && (rx_blocks_buff[1] == 193) && (rx_blocks_buff[2] == 33)) {
				if (rx_blocks_buff[3] == 14) {
					// detected
					int x_pos = rx_blocks_buff[8];
					int y_pos = rx_blocks_buff[10];
					printf("target detected at (%d,%d)! \n\r", x_pos, y_pos);
					if (x_pos > ref_x + tolerate_x) {
						state = TO_RIGHT;
					} else if (x_pos < ref_x - tolerate_x) {
						state = TO_LEFT;
					} else {
						state = READY;
					}
				} else {
					state = NOT_DETECTED;
				}
			} else {
				state = LOST;
			}
			break;
	case READY:
		// set the gpio for launching the ball
		// HAL_GPIO_WritePin(GPIOA, GPIO_PIN_5, GPIO_PIN_SET);
//		enable = 0;
		state = IDLE;
		break;
	}

	printf("current state is %d \n\r", state);

}
/* USER CODE END 4 */

void Error_Handler(void)
{
  __disable_irq();
  while (1)
  {
  }
}
